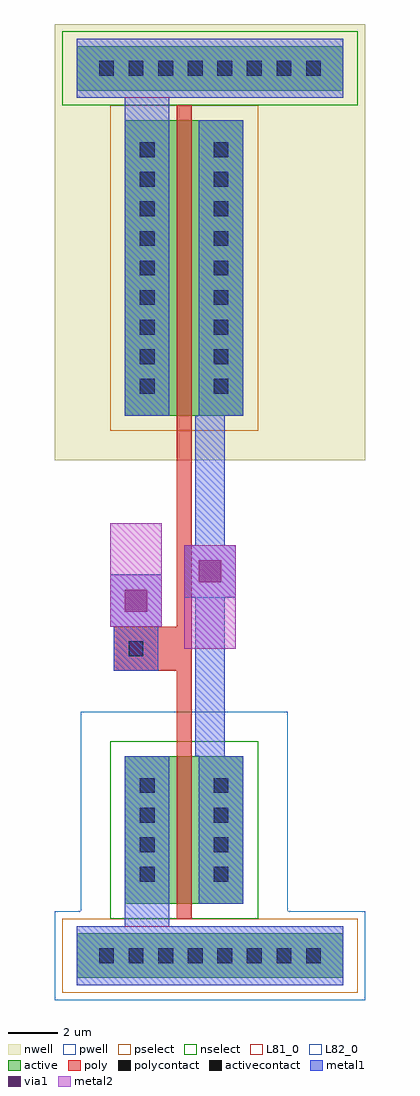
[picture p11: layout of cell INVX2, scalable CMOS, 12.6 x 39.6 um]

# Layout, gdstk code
import gdstk
lib = gdstk.Library(unit=1e-6, precision=1e-09)
def R(c, l, rs):  # rectangles x0, y0, x1, y1
    for r in rs: c.add(gdstk.rectangle(r[:2], r[2:], *l))
def A(c, l, x, y, w, h, nx, ny, dx, dy):  # array of equal rectangles
    R(c, l, [(x+i*dx, y+j*dy, x+i*dx+w, y+j*dy+h) for i in range(nx) for j in range(ny)])
pwell = (41, 0)
nwell = (42, 0)
active = (43, 0)
pselect = (44, 0)
nselect = (45, 0)
poly = (46, 0)
polycontact = (47, 0)
activecontact = (48, 0)
metal1 = (49, 0)
via1 = (50, 0)
metal2 = (51, 0)
L81_0 = (81, 0)
L82_0 = (82, 0)

invx2 = lib.new_cell('INVX2')
R(invx2, pwell, [(-1.8,-1.8,10.8,1.8), (-0.75,1.8,7.65,9.9)])
R(invx2, nwell, [(-1.8,20.1,10.8,37.8)])
R(invx2, active, [(-0.9,-0.9,9.9,0.9), (1.05,2.1,5.85,8.1), (1.05,21.9,5.85,33.9), (-0.9,35.1,9.9,36.9)])
R(invx2, pselect, [(-1.5,-1.5,10.5,1.5), (0.45,21.3,6.45,34.5)])
R(invx2, nselect, [(0.45,1.5,6.45,8.7), (-1.5,34.5,10.5,37.5)])
R(invx2, poly, [(3.15,1.5,3.75,11.55), (0.6,11.55,3.75,13.35), (3.15,13.35,3.75,34.5)])
R(invx2, polycontact, [(1.2,12.15,1.8,12.75)])
A(invx2, activecontact, 0, -0.3, 0.6, 0.6, 8, 2, 1.2, 36)
A(invx2, activecontact, 1.65, 3, 0.6, 0.6, 1, 4, 0, 1.2)
A(invx2, activecontact, 4.65, 3, 0.6, 0.6, 1, 4, 0, 1.2)
A(invx2, activecontact, 1.65, 22.8, 0.6, 0.6, 1, 9, 0, 1.2)
A(invx2, activecontact, 4.65, 22.8, 0.6, 0.6, 1, 9, 0, 1.2)
R(invx2, metal1, [(-0.9,-1.2,9.9,1.2), (1.05,1.2,2.85,8.1), (4.05,2.1,5.85,8.1), (3.9,8.1,5.1,14.55), (0.6,11.55,2.4,13.35), (0.45,13.35,2.55,15.45), (3.45,14.55,5.55,16.65), (3.9,16.65,5.1,21.9), (1.05,21.9,2.85,34.8), (4.05,21.9,5.85,33.9), (-0.9,34.8,9.9,37.2)])
R(invx2, via1, [(1.05,13.95,1.95,14.85), (4.05,15.15,4.95,16.05)])
R(invx2, metal2, [(3.45,12.45,5.55,16.65), (0.45,13.35,2.55,17.55)])
R(invx2, L81_0, [(-0.9,-1.2,9.9,1.2), (-0.9,34.8,9.9,37.2)])
R(invx2, L82_0, [(3.45,12.45,5.55,14.55), (0.45,15.45,2.55,17.55)])

lib.write_gds('INVX2.gds')
